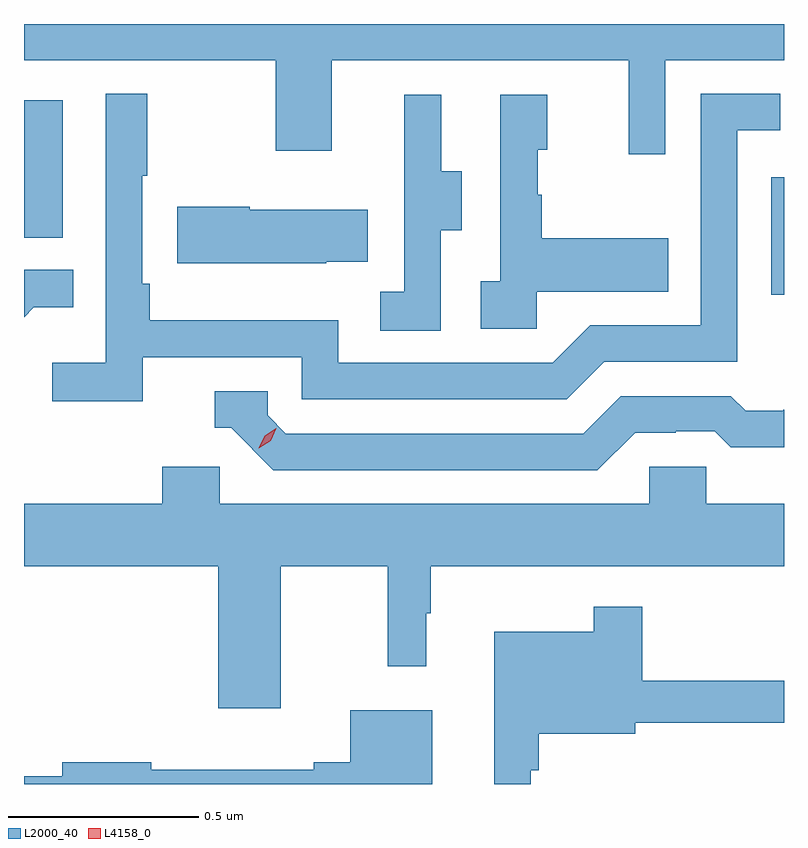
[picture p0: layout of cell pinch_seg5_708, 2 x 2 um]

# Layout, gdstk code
import gdstk
lib = gdstk.Library(unit=1e-6, precision=1e-09)
def R(c, l, rs):  # rectangles x0, y0, x1, y1
    for r in rs: c.add(gdstk.rectangle(r[:2], r[2:], *l))
def P(c, l, *ps):  # polygons
    for p in ps: c.add(gdstk.Polygon(p, *l))
L2000_40 = (2000, 40)
L4158_0 = (4158, 0)

pinch_seg5_708 = lib.new_cell('pinch_seg5_708')
R(pinch_seg5_708, L2000_40, [(1137.492,837.495,1137.525,837.804), (1135.525,837.645,1135.627,838.006)])
P(pinch_seg5_708, L2000_40, [(1137.213,838.112),(1137.525,838.112),(1137.525,838.207),(1135.525,838.207),(1135.525,838.112),(1136.188,838.112),(1136.188,837.873),(1136.335,837.873),(1136.335,838.112),(1137.116,838.112),(1137.116,837.864),(1137.213,837.864)],
  [(1135.838,837.33),(1136.256,837.33),(1136.256,837.219),(1136.953,837.219),(1137.052,837.318),(1137.402,837.318),(1137.402,837.927),(1137.515,837.927),(1137.515,838.023),(1137.306,838.023),(1137.306,837.414),(1137.015,837.414),(1136.916,837.315),(1136.352,837.315),(1136.352,837.427),(1135.856,837.427),(1135.856,837.523),(1135.836,837.523),(1135.836,837.808),(1135.849,837.808),(1135.849,838.024),(1135.74,838.024),(1135.74,837.316),(1135.599,837.316),(1135.599,837.214),(1135.838,837.214)],
  [(1136.622,837.664),(1136.677,837.664),(1136.677,837.819),(1136.623,837.819),(1136.623,838.021),(1136.525,838.021),(1136.525,837.807),(1136.526,837.807),(1136.526,837.503),(1136.463,837.503),(1136.463,837.4),(1136.622,837.4)],
  [(1136.874,837.503),(1137.221,837.503),(1137.221,837.643),(1136.887,837.643),(1136.887,837.758),(1136.877,837.758),(1136.877,837.876),(1136.902,837.876),(1136.902,838.021),(1136.778,838.021),(1136.778,837.53),(1136.727,837.53),(1136.727,837.405),(1136.874,837.405)],
  [(1136.321,837.581),(1136.429,837.581),(1136.429,837.718),(1136.119,837.718),(1136.119,837.726),(1135.928,837.726),(1135.928,837.578),(1136.321,837.578)],
  [(1135.551,837.461),(1135.655,837.461),(1135.655,837.56),(1135.525,837.56),(1135.525,837.435)],
  [(1137.133,837.132),(1137.24,837.132),(1137.24,837.135),(1137.343,837.135),(1137.385,837.093),(1137.525,837.093),(1137.525,837.192),(1137.523,837.192),(1137.523,837.189),(1137.424,837.189),(1137.385,837.228),(1137.096,837.228),(1136.997,837.129),(1136.214,837.129),(1136.166,837.177),(1136.166,837.24),(1136.027,837.24),(1136.027,837.144),(1136.07,837.144),(1136.181,837.033),(1137.034,837.033)],
  [(1136.2,836.78),(1136.482,836.78),(1136.482,836.517),(1136.584,836.517),(1136.584,836.657),(1136.596,836.657),(1136.596,836.78),(1137.525,836.78),(1137.525,836.944),(1137.321,836.944),(1137.321,837.042),(1137.171,837.042),(1137.171,836.944),(1136.04,836.944),(1136.04,837.042),(1135.889,837.042),(1135.889,836.944),(1135.525,836.944),(1135.525,836.78),(1136.036,836.78),(1136.036,836.406),(1136.2,836.406)],
  [(1136.859,836.243),(1136.879,836.243),(1136.879,836.339),(1137.133,836.339),(1137.133,836.368),(1137.525,836.368),(1137.525,836.479),(1137.152,836.479),(1137.152,836.674),(1137.024,836.674),(1137.024,836.608),(1136.762,836.608),(1136.762,836.207),(1136.859,836.207)],
  [(1136.599,836.401),(1136.384,836.401),(1136.384,836.264),(1136.288,836.264),(1136.288,836.245),(1135.86,836.245),(1135.86,836.264),(1135.625,836.264),(1135.625,836.228),(1135.525,836.228),(1135.525,836.207),(1136.599,836.207)])
P(pinch_seg5_708, L4158_0, [(1136.143,837.091),(1136.143,837.091),(1136.159,837.124),(1136.189,837.143),(1136.189,837.143),(1136.189,837.143),(1136.174,837.11),(1136.143,837.091)])

lib.write_gds('pinch_seg5_708.gds')
